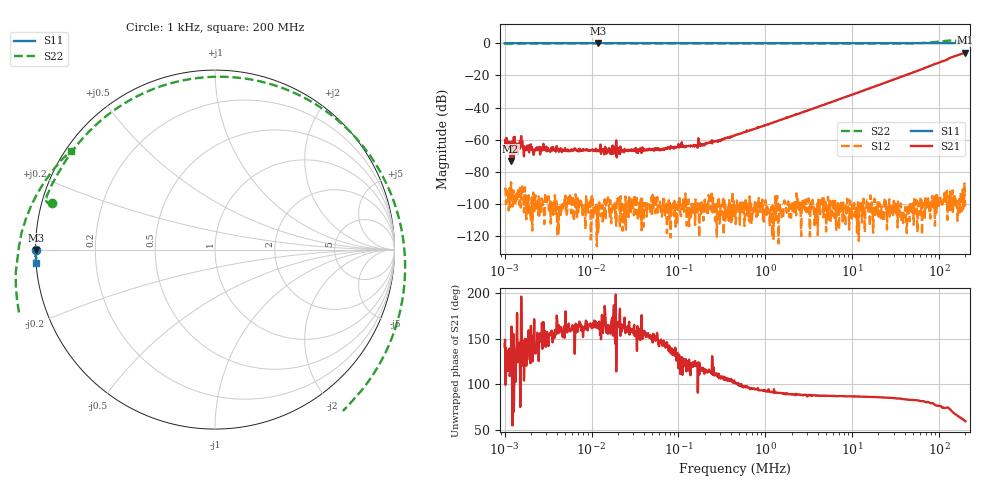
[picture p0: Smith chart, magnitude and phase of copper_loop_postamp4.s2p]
! ListType=Log
# MHZ S RI R 50
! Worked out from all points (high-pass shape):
!   1000 points, 1 kHz to 200 MHz, reference 50 ohm
!   highest |S21| = -5.88 dB at 200 MHz (marker M1); lowest = -73.2 dB at 1.172 kHz (marker M2)
!   |S21| within 3 dB of the highest: 137.2 MHz to end of sweep
!   lowest |S11| = 0.0 dB at 11.95 kHz (marker M3), VSWR 381.54, Z = 0.131 - j0.0555 ohm
!   |S11| at or under -10 dB: nowhere
!   |S22| runs from -0.5 to 1.7 dB; largest |S21 - S12| = 0.51
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0.001  -0.9968 -0.00067  -0.000516 0.000414  -1.15e-05 -2.99e-05  -0.9089 0.26
0.0011721  -0.9963 -0.000209  -0.000166 0.000142  1.14e-05 -1.18e-05  -0.9124 0.2585
0.0015336  -0.9968 -0.000214  -0.000683 0.000556  -7.4e-06 -2.8e-06  -0.919 0.2571
0.0017329  -0.9965 -0.000476  -0.000422 0.00039  -3.1e-06 1.34e-05  -0.9221 0.2574
0.0021858  -0.9967 -0.000201  -0.000427 6.58e-05  -2.6e-06 -4.4e-06  -0.9279 0.2587
0.0076941  -0.997 -4.75e-05  -0.000449 0.000178  -2.1e-06 8.4e-06  -0.9422 0.2759
0.011945  -0.9948 -0.00221  -0.000441 0.00015  -1.2e-06 6e-07  -0.9435 0.2782
0.0584804  -0.997 -4.8e-05  -0.000441 0.00032  1.1e-06 -7.5e-06  -0.9406 0.2882
0.1889811  -0.997 -9.62e-05  -0.000284 0.000595  -5.2e-06 -4.5e-06  -0.9389 0.2932
0.4499541  -0.997 -0.000289  -0.00028 0.00135  1.8e-06 7.1e-06  -0.9349 0.303
3.419952  -0.9972 -0.00135  0.000283 0.00894  -1.8e-06 -7.2e-06  -0.8867 0.4028
12.03851  -0.9975 -0.00451  0.0017 0.0302  -7.5e-06 -3e-07  -0.7122 0.6466
26.31347  -0.9979 -0.00952  0.00514 0.0648  3.6e-06 -3.5e-06  -0.3118 0.9064
50.9003  -0.9983 -0.0178  0.0154 0.1234  -1e-07 -2.3e-06  0.4925 0.8486
64.99008  -0.998 -0.0227  0.0225 0.1583  6e-06 -3.9e-06  0.8567 0.5339
81.97236  -0.998 -0.0286  0.0367 0.1999  5.3e-06 -7.1e-06  1.057 -0.0223
103.3922  -0.9977 -0.036  0.0599 0.2523  -9.6e-06 -1.12e-05  0.8402 -0.7545
128.8255  -0.995 -0.0464  0.09 0.3187  -1.25e-05 -1.01e-05  0.0311 -1.195
145.5678  -0.9992 -0.0538  0.1361 0.3561  5.8e-06 -1.22e-05  -0.5687 -1.06
164.4859  -0.9987 -0.0596  0.1761 0.3863  4.6e-06 -3.3e-06  -1.028 -0.5582
179.1732  -0.9991 -0.065  0.208 0.4132  -1.87e-05 -8.8e-06  -1.102 -0.0581
200  -0.9988 -0.0753  0.2552 0.4395  -1.29e-05 -6.6e-06  -0.8026 0.5506
